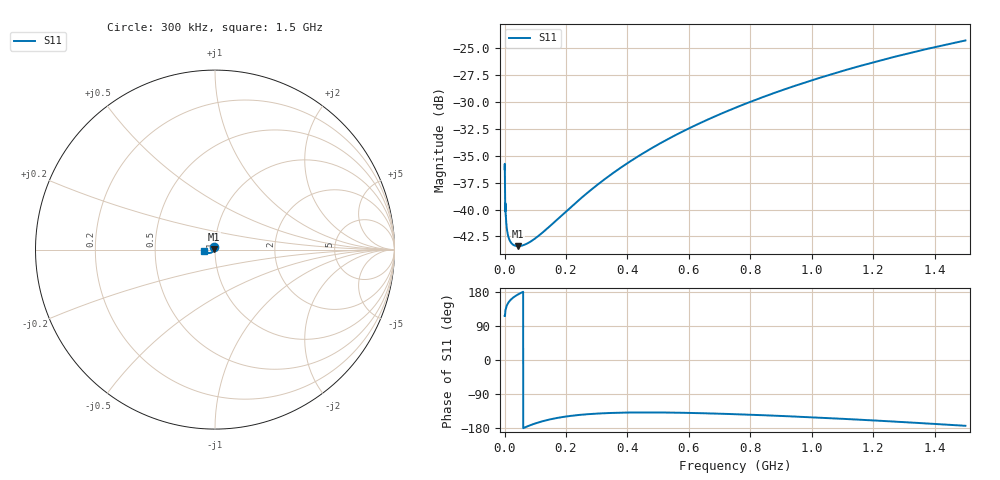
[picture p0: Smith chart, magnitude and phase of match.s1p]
! TOUCHSTONE file generated by CST MICROWAVE STUDIO
! Date and time: Sun Oct 12 18:13:02 2025
! Project name: calkit_sim.cst
! Parameters = {Rgap=0.9; ceq=6.5e-14; cu_t=0.035; dut_x=83.3333; k=7.07; leq=1.1e-09; line_gap=0.9; line_w=2.5; match_x=66.6667; open_x=16.6667; pad_g=1; pad_x=1.45; pad_z=0.9; ref_1=23.3333; ref_2=16.6667; res_h=0.32; res_len=1; res_w=0.5; short_x=33.3333; sus_l=100; sus_t=1.6; sus_w=40; thru_x=50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
! Header version: 2015
! Port assignment regex: !\s*Touchstone port\s*([0-9]+)\s*=\s*CST MWS port\s*([0-9]+)\s*\(\"(.*)\"\)(\s*mode\s*([0-9]+))?.*
! Touchstone port assignment:
! Touchstone port 1 = CST MWS port 1 ("")
# GHz S DB R 50
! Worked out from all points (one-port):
!   5000 points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, 300 kHz to 1.5 GHz, reference 50 ohm
!   lowest |S11| = -43.4 dB at 44.4 MHz (marker M1), VSWR 1.01, Z = 49.3 + j0.0788 ohm
!   |S11| at or under -10 dB: start of sweep to end of sweep
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0.0003  -36.27 116.7
0.0045  -40.63 136.2
0.009  -42.03 146.4
0.0096  -42.16 147.4
0.0111  -42.37 149.6
0.0129  -42.57 152.0
0.0174  -42.90 156.7
0.0243  -43.17 162.1
0.0333  -43.34 167.7
0.0444  -43.40 173.2
0.0552  -43.35 177.8
0.0672  -43.24 -177.6
0.096  -42.76 -168.5
0.1302  -41.98 -160.2
0.1878  -40.50 -150.6
0.2385  -39.21 -145.3
0.2835  -38.14 -142.3
0.3291  -37.13 -140.3
0.3753  -36.18 -139.1
0.4647  -34.56 -138.3
0.5628  -33.02 -139.1
0.6531  -31.78 -140.6
0.7503  -30.59 -143.0
0.8412  -29.59 -145.7
0.9378  -28.62 -149.0
1.1253  -26.96 -156.3
1.3128  -25.55 -164.5
1.5  -24.34 -173.6
